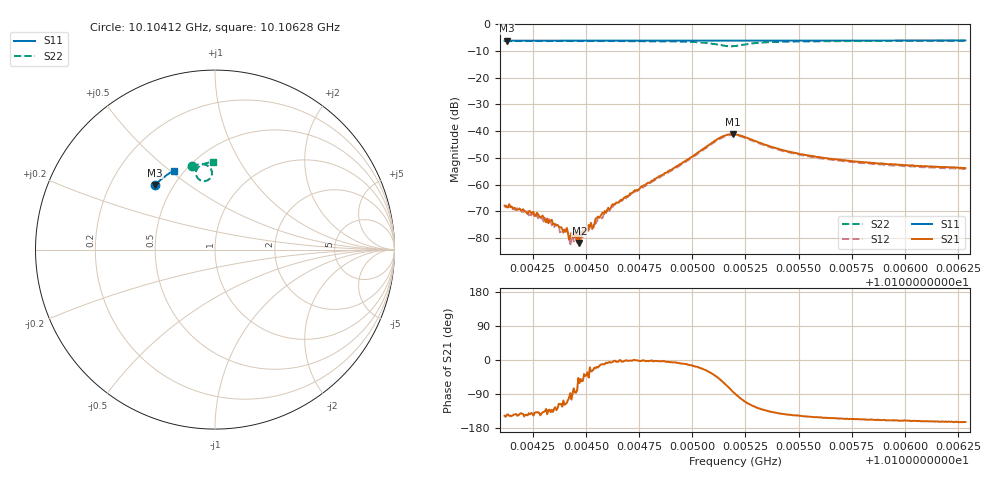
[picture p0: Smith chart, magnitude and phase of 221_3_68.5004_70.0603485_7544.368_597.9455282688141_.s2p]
#  HZ  S  RI  R  50.00
! Rohde & Schwarz Vector Network Analyzer
! Rohde-Schwarz,ZNB20-2Port,1311601062101988,3.16
! Created: UTC 3/20/2024, 5:13:40 PM
! freq[Hz]  re:S11  im:S11  re:S21  im:S21  re:S12  im:S12  re:S22  im:S22
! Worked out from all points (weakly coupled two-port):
!   401 points, 10.10412 GHz to 10.10628 GHz, reference 50 ohm
!   highest |S21| = -41.13 dB at 10.10519 GHz (marker M1); lowest = -81.7 dB at 10.10447 GHz (marker M2)
!   lowest |S11| = -6.2 dB at 10.10413 GHz (marker M3), VSWR 2.93, Z = 19.9 + j18.9 ohm
!   |S11| at or under -10 dB: nowhere
!   |S22| runs from -8.3 to -6.2 dB; largest |S21 - S12| = 0.00092
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1.0104117e10  -0.3341 0.36  -0.000342 -0.000219  -0.000323 -0.000236  -0.1301 0.4656
1.0104128e10  -0.3334 0.3605  -0.000316 -0.000227  -0.000308 -0.000238  -0.1293 0.4656
1.0104242e10  -0.3286 0.3655  -0.000228 -0.00019  -0.000195 -0.000182  -0.1211 0.4679
1.0104318e10  -0.3253 0.3686  -0.000185 -0.000141  -0.000139 -0.000167  -0.1155 0.4696
1.010434e10  -0.3242 0.3695  -0.000147 -0.000166  -0.000106 -0.000138  -0.114 0.4701
1.0104388e10  -0.3221 0.3716  -8.17e-05 -0.000126  -6.6e-05 -0.000128  -0.1102 0.4708
1.010441e10  -0.3212 0.3727  -6.12e-05 -0.000143  -3.89e-05 -0.000144  -0.1086 0.4713
1.0104432e10  -0.3203 0.3735  -3.19e-05 -0.000123  6.28e-06 -9.81e-05  -0.1068 0.4718
1.010447e10  -0.3187 0.375  3.98e-05 -7.16e-05  4.61e-05 -8.45e-05  -0.1038 0.4723
1.010448e10  -0.3182 0.3755  6.17e-05 -9.25e-05  6.71e-05 -7.87e-05  -0.1029 0.4725
1.0104513e10  -0.3166 0.3768  0.000121 -0.000128  0.000129 -5.27e-05  -0.1002 0.4731
1.0104529e10  -0.3159 0.3774  0.000139 -7.77e-05  0.000144 -2.98e-05  -0.0988 0.4733
1.0104556e10  -0.3147 0.3786  0.000239 -8.62e-05  0.000213 -6.04e-05  -0.0965 0.4737
1.0104632e10  -0.3112 0.3817  0.000422 -1.51e-05  0.000435 -1.64e-05  -0.0895 0.4748
1.0104843e10  -0.3014 0.3901  0.00143 -7.27e-05  0.00135 6.84e-05  -0.0654 0.4753
1.0105125e10  -0.2878 0.4005  0.00485 -0.00552  0.00514 -0.00482  -0.0198 0.4102
1.010519e10  -0.285 0.4026  0.00103 -0.00872  0.00184 -0.00828  -0.0653 0.3818
1.0105201e10  -0.2846 0.403  0.000146 -0.0087  0.000993 -0.0084  -0.0747 0.3837
1.0105423e10  -0.2741 0.4113  -0.00352 -0.00275  -0.00314 -0.00294  -0.0904 0.4618
1.0105564e10  -0.2671 0.4164  -0.00299 -0.0017  -0.00272 -0.00188  -0.073 0.4736
1.0105927e10  -0.2486 0.4287  -0.00225 -0.000861  -0.00208 -0.000994  -0.0401 0.4836
1.0106285e10  -0.2302 0.4399  -0.00196 -0.000574  -0.00184 -0.000727  -0.0136 0.4872
